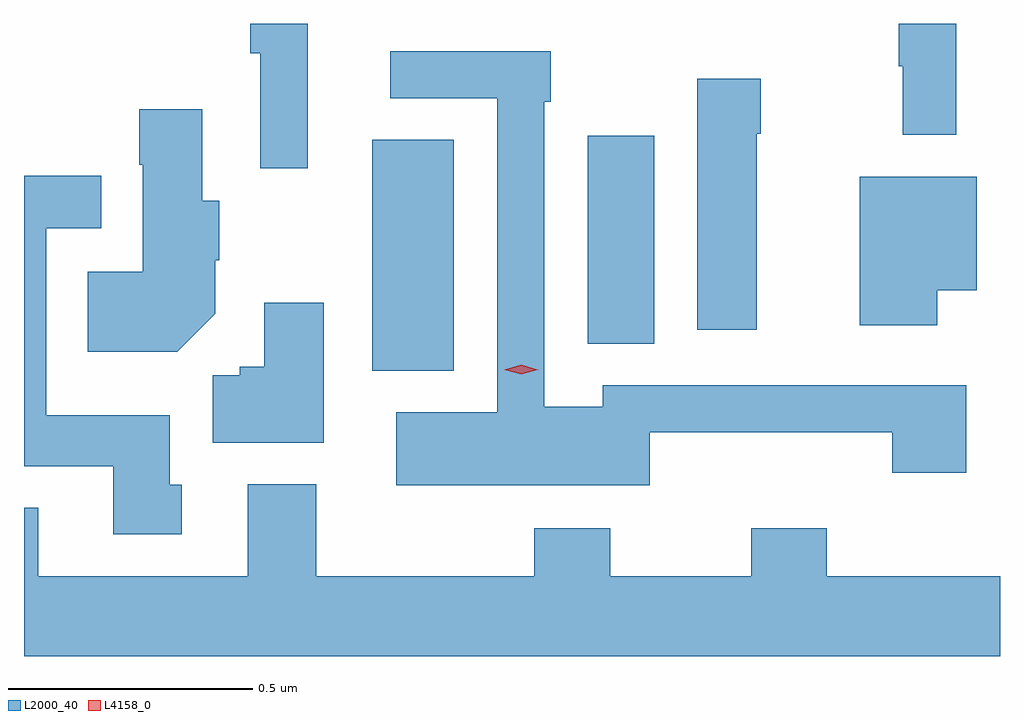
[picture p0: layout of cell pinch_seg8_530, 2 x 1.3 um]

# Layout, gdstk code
import gdstk
lib = gdstk.Library(unit=1e-6, precision=1e-09)
def R(c, l, rs):  # rectangles x0, y0, x1, y1
    for r in rs: c.add(gdstk.rectangle(r[:2], r[2:], *l))
def P(c, l, *ps):  # polygons
    for p in ps: c.add(gdstk.Polygon(p, *l))
L2000_40 = (2000, 40)
L4158_0 = (4158, 0)

pinch_seg8_530 = lib.new_cell('pinch_seg8_530')
R(pinch_seg8_530, L2000_40, [(227.744,1121.081,227.911,1121.555), (228.185,1121.137,228.322,1121.563)])
P(pinch_seg8_530, L2000_40, [(227.611,1121.793),(227.494,1121.793),(227.494,1121.732),(227.514,1121.732),(227.514,1121.496),(227.611,1121.496)],
  [(228.94,1121.793),(228.823,1121.793),(228.823,1121.705),(228.831,1121.705),(228.831,1121.565),(228.94,1121.565)],
  [(228.312,1120.955),(228.809,1120.955),(228.809,1120.872),(228.961,1120.872),(228.961,1121.052),(228.216,1121.052),(228.216,1121.008),(228.096,1121.008),(228.096,1121.633),(228.109,1121.633),(228.109,1121.736),(227.781,1121.736),(227.781,1121.64),(228,1121.64),(228,1120.996),(227.793,1120.996),(227.793,1120.847),(228.312,1120.847)],
  [(228.532,1121.567),(228.54,1121.567),(228.54,1121.68),(228.41,1121.68),(228.41,1121.166),(228.532,1121.166)],
  [(227.422,1121.198),(227.422,1121.308),(227.43,1121.308),(227.43,1121.43),(227.395,1121.43),(227.395,1121.617),(227.266,1121.617),(227.266,1121.504),(227.273,1121.504),(227.273,1121.284),(227.161,1121.284),(227.161,1121.12),(227.344,1121.12)],
  [(227.353,1120.848),(227.329,1120.848),(227.329,1120.99),(227.076,1120.99),(227.076,1121.373),(227.188,1121.373),(227.188,1121.481),(227.03,1121.481),(227.03,1120.886),(227.213,1120.886),(227.213,1120.746),(227.353,1120.746)],
  [(228.901,1121.246),(228.982,1121.246),(228.982,1121.479),(228.743,1121.479),(228.743,1121.175),(228.901,1121.175)],
  [(227.644,1121.221),(227.522,1121.221),(227.522,1121.09),(227.472,1121.09),(227.472,1121.072),(227.417,1121.072),(227.417,1120.934),(227.644,1120.934)],
  [(228.076,1120.759),(228.076,1120.66),(227.629,1120.66),(227.629,1120.849),(227.489,1120.849),(227.489,1120.66),(227.059,1120.66),(227.059,1120.801),(227.03,1120.801),(227.03,1120.496),(229.03,1120.496),(229.03,1120.66),(228.675,1120.66),(228.675,1120.759),(228.52,1120.759),(228.52,1120.66),(228.231,1120.66),(228.231,1120.759)])
P(pinch_seg8_530, L4158_0, [(228.049,1121.074),(228.014,1121.084),(228.014,1121.084),(228.014,1121.084),(228.049,1121.094),(228.083,1121.084),(228.084,1121.084),(228.083,1121.084)])

lib.write_gds('pinch_seg8_530.gds')
